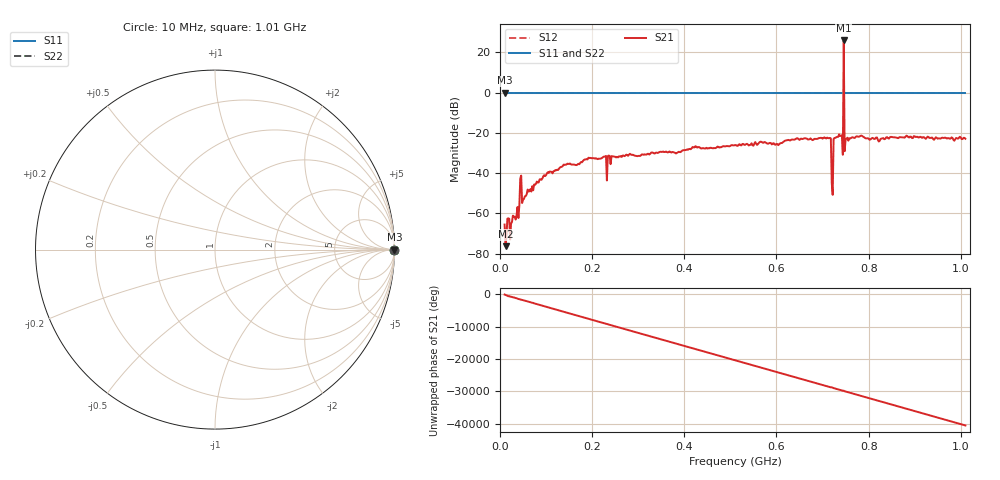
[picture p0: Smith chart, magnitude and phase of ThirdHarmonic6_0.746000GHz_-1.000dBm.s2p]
! 8/16/2025 12:57:58 AM
! C:\ANRITSUVNA\TEMP\TEMP.S2P
! CHANNEL.1
! TR.MEASUREMENT
! RAW.DATA
! RF.CORRECTION.OFF
! AVERAGING.OFF
! IF.BANDWIDTH: 5KHZ
! SWEEPTYPE:  FREQ.SWEEP(Linear)
! Reference Plane Port Info
! PORT:  PORT1  PORT2
! DISTANCE:  0  m  0  m
! TIME:  0  s  0  s
! PHASE.OFFSET:  0  deg.  0  deg.
! LOSS:  0  dB  0  dB
! REF.LOSS:  0  dB  0  dB
! REF.FREQ:  0  Hz  0  Hz
! Power Info
! POWER:  -20  dBm  -20  dBm
! EFF.POWER:  -20  dBm  -20  dBm
! SOURCE.ATTEN:  0  dB  0  dB
! TEST.ATTEN:  0  dB  0  dB
# GHZ S RI R 50.0
! FREQ.GHZ  S11RE  S11IM  S21RE  S21IM  S12RE  S12IM  S22RE  S22IM
!; PortSelection: Port_12
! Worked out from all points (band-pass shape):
!   501 points, 10 MHz to 1.01 GHz, reference 50 ohm
!   highest |S21| = 25.97 dB at 746 MHz (marker M1); lowest = -76.2 dB at 12 MHz (marker M2)
!   |S21| within 3 dB of the highest: 745.8944 MHz to 746.1091 MHz (214.7 kHz wide, 0.0288 % of centre)
!   lowest |S11| = 0.0 dB at 10 MHz (marker M3)
!   |S11| at or under -10 dB: nowhere
!   |S22| runs from 0.0 to 0.0 dB; largest |S21 - S12| = 19
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0.01  1 0  4.46e-05 -0.000528  1 0  1 0
0.012  1 0  -0.00014 6.53e-05  1 0  1 0
0.036  1 0  -0.000829 -0.0004  1 0  1 0
0.048  1 0  0.00041 0.00177  1 0  1 0
0.052  1 0  -0.000143 -0.0023  1 0  1 0
0.106  1 0  -0.00779 -0.00664  1 0  1 0
0.178  1 0  -0.0187 -0.00119  1 0  1 0
0.344  1 0  0.0283 -0.0162  1 0  1 0
0.51  1 0  -0.0318 0.0383  1 0  1 0
0.678  1 0  -0.0642 -0.0171  1 0  1 0
0.714  1 0  -0.0741 0.000201  1 0  1 0
0.718  1 0  0.0704 0.0199  1 0  1 0
0.722  1 0  -0.000481 -0.00287  1 0  1 0
0.724  1 0  -0.0534 0.0462  1 0  1 0
0.728  1 0  0.0707 -0.0272  1 0  1 0
0.74  1 0  -0.0732 -0.0431  1 0  1 0
0.742  1 0  -0.0534 0.0707  1 0  1 0
0.746  1 0  10.96 16.6  1 0  1 0
0.75  1 0  -0.0642 0.0238  1 0  1 0
0.752  1 0  0.00789 0.0718  1 0  1 0
0.844  1 0  0.066 -0.0299  1 0  1 0
1.01  1 0  -0.0181 0.0696  1 0  1 0
